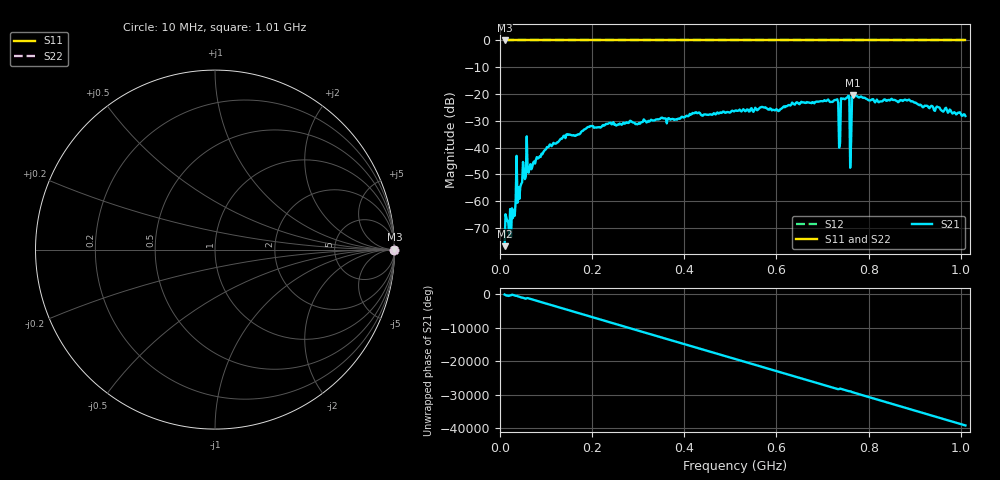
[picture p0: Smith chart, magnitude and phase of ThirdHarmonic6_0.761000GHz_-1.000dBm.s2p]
! 8/16/2025 1:26:38 AM
! C:\ANRITSUVNA\TEMP\TEMP.S2P
! CHANNEL.1
! TR.MEASUREMENT
! RAW.DATA
! RF.CORRECTION.OFF
! AVERAGING.OFF
! IF.BANDWIDTH: 5KHZ
! SWEEPTYPE:  FREQ.SWEEP(Linear)
! Reference Plane Port Info
! PORT:  PORT1  PORT2
! DISTANCE:  0  m  0  m
! TIME:  0  s  0  s
! PHASE.OFFSET:  0  deg.  0  deg.
! LOSS:  0  dB  0  dB
! REF.LOSS:  0  dB  0  dB
! REF.FREQ:  0  Hz  0  Hz
! Power Info
! POWER:  -20  dBm  -20  dBm
! EFF.POWER:  -20  dBm  -20  dBm
! SOURCE.ATTEN:  0  dB  0  dB
! TEST.ATTEN:  0  dB  0  dB
# GHZ S RI R 50.0
! FREQ.GHZ  S11RE  S11IM  S21RE  S21IM  S12RE  S12IM  S22RE  S22IM
!; PortSelection: Port_12
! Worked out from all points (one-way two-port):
!   501 points, 10 MHz to 1.01 GHz, reference 50 ohm
!   highest |S21| = -20.48 dB at 766 MHz (marker M1); lowest = -76.8 dB at 10 MHz (marker M2)
!   lowest |S11| = 0.0 dB at 10 MHz (marker M3)
!   |S11| at or under -10 dB: nowhere
!   |S22| runs from 0.0 to 0.0 dB; largest |S21 - S12| = 1.1
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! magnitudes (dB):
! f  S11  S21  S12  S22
! 10 MHz  0.0  -76.8  0.0  0.0
! 16 MHz  0.0  -67.4  0.0  0.0
! 28 MHz  0.0  -66.4  0.0  0.0
! 32 MHz  0.0  -65.4  0.0  0.0
! 40 MHz  0.0  -54.9  0.0  0.0
! 42 MHz  0.0  -59.2  0.0  0.0
! 54 MHz  0.0  -51.8  0.0  0.0
! 178 MHz  0.0  -33.9  0.0  0.0
! 344 MHz  0.0  -29.5  0.0  0.0
! 510 MHz  0.0  -26.2  0.0  0.0
! 678 MHz  0.0  -23.0  0.0  0.0
! 730 MHz  0.0  -22.1  0.0  0.0
! 734 MHz  0.0  -23.3  0.0  0.0
! 740 MHz  0.0  -21.6  0.0  0.0
! 744 MHz  0.0  -21.7  0.0  0.0
! 754 MHz  0.0  -21.3  0.0  0.0
! 758 MHz  0.0  -20.9  0.0  0.0
! 764 MHz  0.0  -21.2  0.0  0.0
! 766 MHz  0.0  -20.5  0.0  0.0
! 770 MHz  0.0  -20.8  0.0  0.0
! 844 MHz  0.0  -22.2  0.0  0.0
! 1.01 GHz  0.0  -28.2  0.0  0.0
